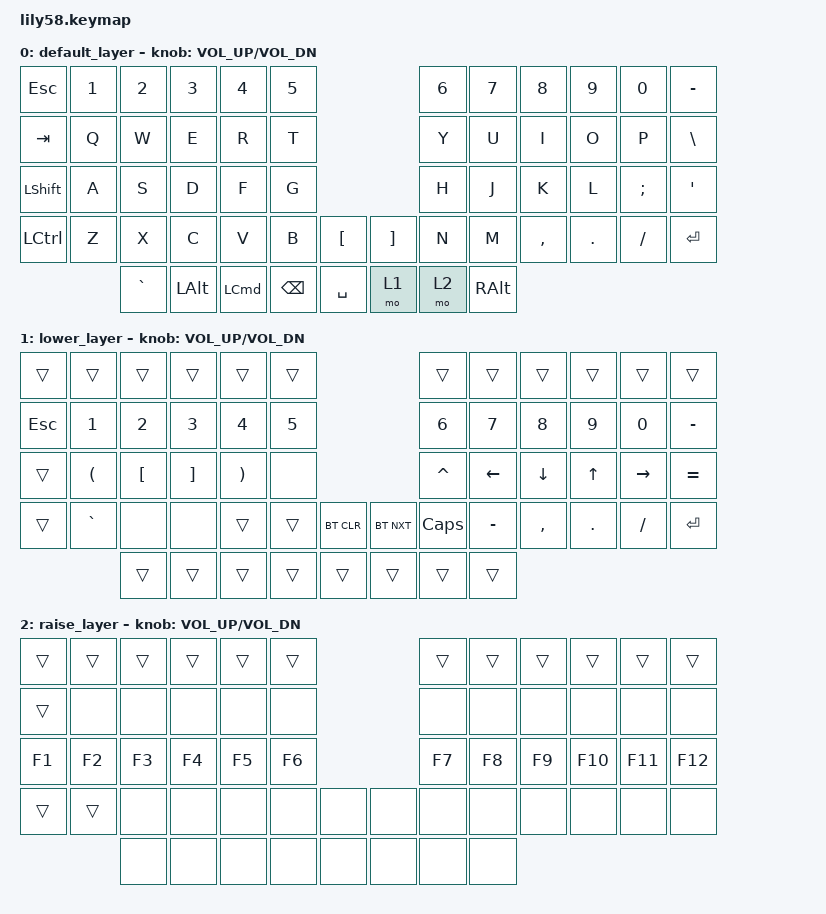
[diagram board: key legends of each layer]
/*
 * Copyright (c) 2020 The ZMK Contributors
 *
 * SPDX-License-Identifier: MIT
 */

#include <behaviors.dtsi>
#include <dt-bindings/zmk/keys.h>
#include <dt-bindings/zmk/bt.h>

/ {
    keymap {
        compatible = "zmk,keymap";

        default_layer {

            bindings = <
  &kp ESC         &kp N1   &kp N2      &kp N3        &kp N4            &kp N5                            &kp N6  &kp N7         &kp N8   &kp N9    &kp N0      &kp MINUS
  &kp TAB         &kp Q    &kp W       &kp E         &kp R             &kp T                             &kp Y   &kp U          &kp I    &kp O     &kp P  &kp BACKSLASH
&kp LSHFT         &kp A    &kp S       &kp D         &kp F             &kp G                             &kp H   &kp J          &kp K    &kp L  &kp SEMI        &kp SQT
&kp LEFT_CONTROL  &kp Z    &kp X       &kp C         &kp V             &kp B       &kp LBKT   &kp RBKT   &kp N   &kp M      &kp COMMA  &kp DOT  &kp FSLH        &kp RET
                           &kp GRAVE  &kp LEFT_ALT  &kp LEFT_COMMAND  &kp BACKSPACE  &kp SPACE   &mo 1   &mo 2  &kp RIGHT_ALT
            >;

            sensor-bindings = <&inc_dec_kp C_VOL_UP C_VOL_DN>;
        };

        lower_layer {

            bindings = <
&trans    &trans      &trans     &trans     &trans     &trans                            &trans         &trans          &trans          &trans        &trans            &trans
&kp ESC   &kp N1      &kp N2     &kp N3     &kp N4     &kp N5                            &kp N6          &kp N7          &kp N8          &kp N9        &kp N0           &kp MINUS
&trans    &kp LPAR    &kp LBKT   &kp RBKT   &kp RPAR   &none                             &kp CARET       &kp LEFT_ARROW  &kp DOWN_ARROW  &kp UP_ARROW  &kp RIGHT_ARROW  &kp EQUAL
&trans    &kp GRAVE   &none      &none      &trans     &trans  &bt BT_CLR   &bt BT_NXT  &kp CAPSLOCK    &kp MINUS       &kp COMMA       &kp DOT       &kp SLASH        &kp ENTER
                                    &trans  &trans  &trans  &trans                   &trans  &trans  &trans  &trans
            >;

            sensor-bindings = <&inc_dec_kp C_VOL_UP C_VOL_DN>;
        };

        raise_layer {
            // ------------------------------------------------------------------------------------------------------------
            // |       |     |     |      |      |      |                   |      |       |       |      |       |       |
            // |   `   |  1  |  2  |  3   |  4   |  5   |                   |  6   |   7   |   8   |  9   |   0   |       |
            // |   F1  |  F2 |  F3 |  F4  |  F5  |  F6  |                   |      |   <-  |   v   |  ^   |  ->   |       |
            // |   F7  |  F8 |  F9 |  F10 |  F11 |  F12 |        |  |       |  +   |   -   |   =   |  [   |   ]   |   \   |
            //                     |      |      |      |        |  |       |      |       |       |

            bindings = <
&trans  &trans  &trans   &trans  &trans  &trans               &trans  &trans  &trans &trans &trans   &trans
&trans  &none   &none    &none   &none   &none                &none   &none   &none  &none  &none    &none
&kp F1  &kp F2   &kp F3  &kp F4  &kp F5  &kp F6              &kp F7  &kp F8 &kp F9 &kp F10  &kp F11 &kp F12
&trans  &trans   &none    &none   &none   &none  &none  &none  &none   &none   &none  &none  &none    &none
                         &none  &none  &none  &none      &none  &none  &none  &none
            >;

            sensor-bindings = <&inc_dec_kp C_VOL_UP C_VOL_DN>;
        };
    };
};

